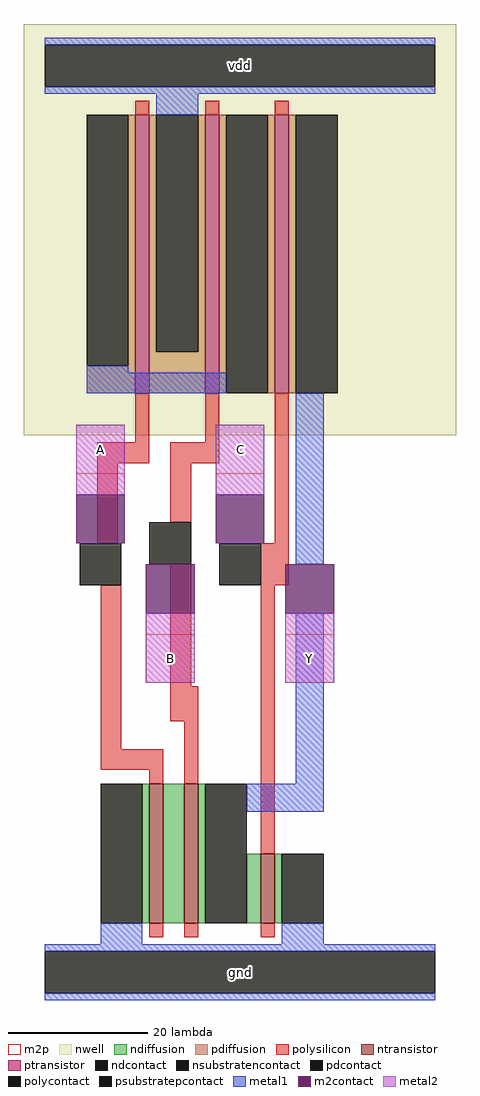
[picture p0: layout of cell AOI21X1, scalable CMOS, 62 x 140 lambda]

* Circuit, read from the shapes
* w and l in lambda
.subckt AOI21X1 A B C Y vdd gnd
M1 n1 A gnd gnd nfet w=20 l=2
M2 Y B n1 gnd nfet w=20 l=2
M3 gnd C Y gnd nfet w=10 l=2
M4 vdd A n2 vdd pfet w=40 l=2
M5 n2 B vdd vdd pfet w=40 l=2
M6 Y C n2 vdd pfet w=40 l=2
.ends

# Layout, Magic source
magic
tech scmos
magscale 1 2
<< nwell >>
rect -12 154 112 272
<< ntransistor >>
rect 24 14 28 54
rect 34 14 38 54
rect 56 14 60 34
<< ptransistor >>
rect 20 166 24 246
rect 40 166 44 246
rect 60 166 64 246
<< ndiffusion >>
rect 22 14 24 54
rect 28 14 34 54
rect 38 14 40 54
rect 52 14 56 34
rect 60 14 62 34
<< pdiffusion >>
rect 18 174 20 246
rect 6 166 20 174
rect 24 178 26 246
rect 38 178 40 246
rect 24 166 40 178
rect 44 166 46 246
rect 58 166 60 246
rect 64 166 66 246
<< ndcontact >>
rect 10 14 22 54
rect 40 14 52 54
rect 62 14 74 34
<< pdcontact >>
rect 6 174 18 246
rect 26 178 38 246
rect 46 166 58 246
rect 66 166 78 246
<< psubstratepcontact >>
rect -6 -6 106 6
<< nsubstratencontact >>
rect -6 254 106 266
<< polysilicon >>
rect 20 246 24 250
rect 40 246 44 250
rect 60 246 64 250
rect 20 152 24 166
rect 40 152 44 166
rect 9 146 24 152
rect 30 146 44 152
rect 9 123 15 146
rect 30 129 36 146
rect 60 123 64 166
rect 10 64 16 111
rect 30 82 36 117
rect 56 111 64 123
rect 30 72 38 82
rect 10 58 28 64
rect 24 54 28 58
rect 34 54 38 72
rect 56 34 60 111
rect 24 10 28 14
rect 34 10 38 14
rect 56 10 60 14
<< polycontact >>
rect 4 111 16 123
rect 24 117 36 129
rect 44 111 56 123
<< metal1 >>
rect -6 266 106 268
rect -6 252 106 254
rect 26 246 38 252
rect 6 172 18 174
rect 6 166 46 172
rect 66 117 74 166
rect 66 54 74 103
rect 52 46 74 54
rect 10 8 22 14
rect 62 8 74 14
rect -6 6 106 8
rect -6 -8 106 -6
<< m2contact >>
rect 3 123 17 137
rect 43 123 57 137
rect 23 103 37 117
rect 63 103 77 117
<< metal2 >>
rect 3 137 17 157
rect 43 137 57 157
rect 23 83 37 103
rect 63 83 77 103
<< m2p >>
rect 3 143 17 157
rect 43 143 57 157
rect 23 83 37 97
rect 63 83 77 97
<< labels >>
rlabel metal2 3 143 17 157 0 A
port 0 nsew signal input
rlabel metal2 23 83 37 97 0 B
port 1 nsew signal input
rlabel metal2 63 83 77 97 0 Y
port 3 nsew signal output
rlabel metal2 43 143 57 157 0 C
port 2 nsew signal input
rlabel metal1 -6 252 106 268 0 vdd
port 4 nsew power bidirectional abutment
rlabel metal1 -6 -8 106 8 0 gnd
port 5 nsew ground bidirectional abutment
<< properties >>
string FIXED_BBOX 0 0 100 260
string LEFclass CORE
string LEFsite core
string LEFsymmetry X Y
<< end >>
